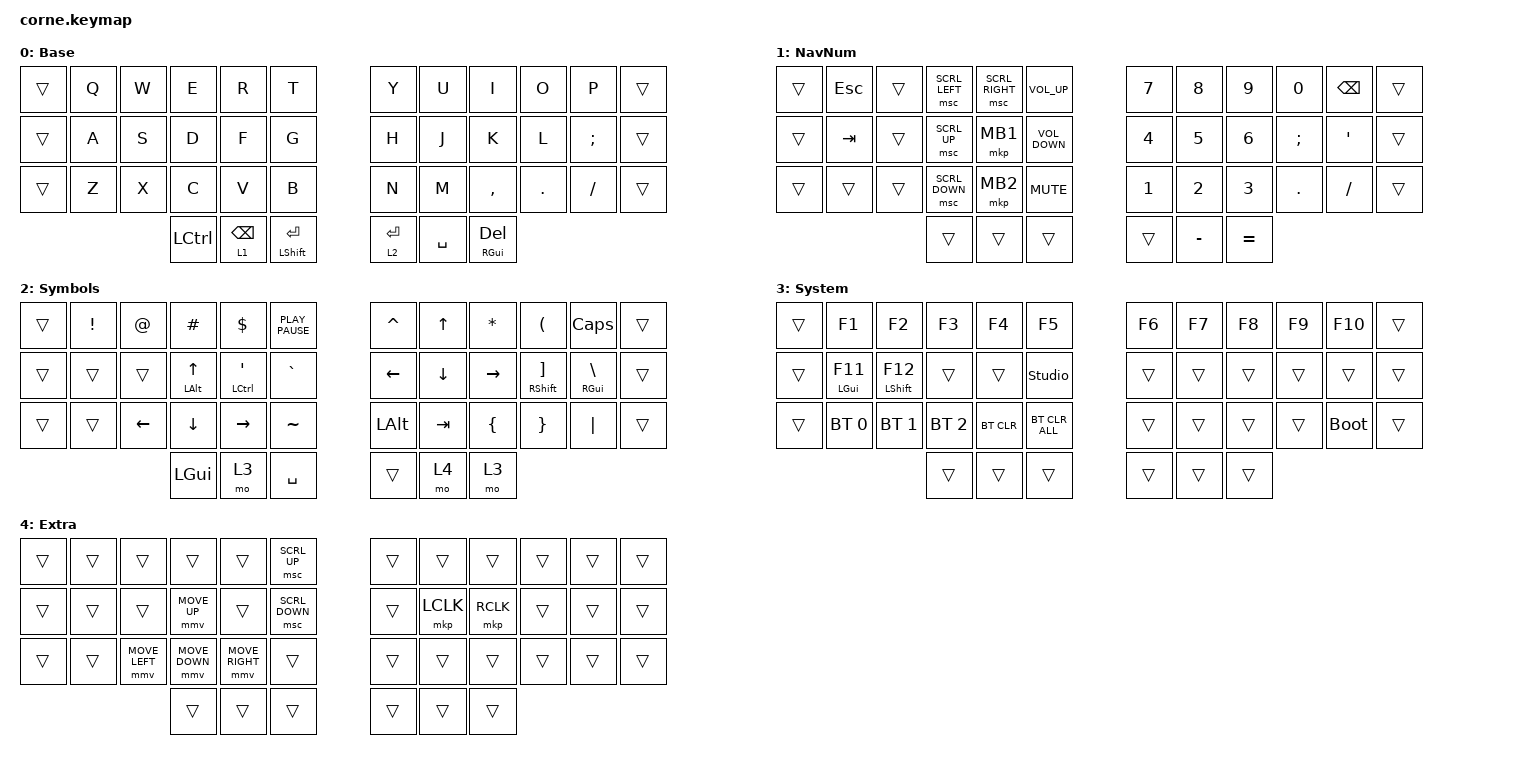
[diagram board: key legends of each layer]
#include <behaviors.dtsi>
#include <dt-bindings/zmk/bt.h>
#include <dt-bindings/zmk/keys.h>
#include <dt-bindings/zmk/pointing.h>

#define DEF 0
#define NAV 1
#define SYM 2
#define ADJ 3
#define EXTRA 4

/ {
    behaviors {
        hm: homerow_mods {
            compatible = "zmk,behavior-hold-tap";
            #binding-cells = <2>;
            tapping-term-ms = <200>;
            flavor = "tap-preferred";
            bindings = <&kp>, <&kp>;

            quick-tap-ms = <180>;
            require-prior-idle-ms = <120>; /* tune to taste */
        };

        para: para {
            compatible = "zmk,behavior-tap-dance";
            #binding-cells = <0>;
            bindings = <&kp LEFT_PARENTHESIS>, <&kp RIGHT_PARENTHESIS>;
        };

        caps: caps {
            compatible = "zmk,behavior-caps-word";
            #binding-cells = <0>;
            continue-list = <MINUS BACKSPACE>;
        };

        paraless: paraless {
            compatible = "zmk,behavior-mod-morph";
            bindings = <&kp LEFT_PARENTHESIS>, <&kp LESS_THAN>;

            #binding-cells = <0>;
            mods = <(MOD_LSFT)>;
        };

        paragreat: paragreat {
            compatible = "zmk,behavior-mod-morph";
            bindings = <&kp RIGHT_PARENTHESIS>, <&kp GREATER_THAN>;

            #binding-cells = <0>;
            mods = <(MOD_LSFT)>;
        };
    };

    macros {
        browsertab: browsertab {
            compatible = "zmk,behavior-macro";
            #binding-cells = <0>;
            bindings =
                <&macro_press>,
                <&kp LCTRL>,
                <&macro_tap>,
                <&kp TAB>,
                <&macro_release>,
                <&kp LCTRL>;
        };
    };

    combos {
        compatible = "zmk,combos";

        escape {
            bindings = <&kp ESCAPE>;
            key-positions = <13 29>;
        };

        delete {
            bindings = <&kp DELETE>;
            key-positions = <15 21>;
        };

        perc {
            bindings = <&kp PERCENT>;
            key-positions = <5 17>;
            layers = <0>;
        };

        equal {
            bindings = <&kp EQUAL>;
            key-positions = <28 16>;
            layers = <0>;
        };

        dollar {
            bindings = <&kp DOLLAR>;
            key-positions = <4 16>;
            layers = <0>;
        };

        pound {
            bindings = <&kp POUND>;
            key-positions = <3 15>;
            layers = <0>;
        };

        at {
            bindings = <&kp AT>;
            key-positions = <2 14>;
            layers = <0>;
        };

        backslash {
            bindings = <&kp BACKSLASH>;
            key-positions = <26 14>;
            layers = <0>;
        };

        star {
            bindings = <&kp STAR>;
            key-positions = <8 20>;
            layers = <0>;
        };

        slash {
            bindings = <&kp SLASH>;
            key-positions = <32 20>;
            layers = <0>;
        };

        plus {
            bindings = <&kp PLUS>;
            key-positions = <7 19>;
            layers = <0>;
        };

        minus {
            bindings = <&kp KP_MINUS>;
            key-positions = <31 19>;
            layers = <0>;
        };

        underscore {
            bindings = <&kp UNDER>;
            key-positions = <30 18>;
            layers = <0>;
        };

        leftbrack {
            bindings = <&kp LEFT_BRACKET>;
            key-positions = <31 32>;
            layers = <0>;
        };

        rightbrack {
            bindings = <&kp RIGHT_BRACKET>;
            key-positions = <33 32>;
            layers = <0>;
        };

        para-less {
            bindings = <&paraless>;
            key-positions = <20 19>;
            layers = <0>;
        };

        para-great {
            bindings = <&paragreat>;
            key-positions = <20 21>;
            layers = <0>;
        };
    };

    //

    keymap {
        compatible = "zmk,keymap";

        DEF {
            display-name = "Base";

            // -----------------------------------------------------------------------------------------
            // |  Q  |  W  |  E  |  R  |  T  |   |  Y  |  U   |  I  |  O  |  P  |
            // |  A  |  S  |  D  |  F  |  G  |   |  H  |  J   |  K  |  L  |  ;  |
            // |  Z  |  X  |  C  |  V  |  B  |   |  N  |  M   |  ,  |  .  |  /  |
            // | GUI | CTRL | SHFT | LWR | SPC |   | ENT | RSE  | BKSP | ALT | ESC |

            bindings = <
&trans  &kp Q  &kp W  &kp E      &kp R            &kp T                   &kp Y         &kp U      &kp I                 &kp O    &kp P     &trans
&trans  &kp A  &kp S  &kp D      &kp F            &kp G                   &kp H         &kp J      &kp K                 &kp L    &kp SEMI  &trans
&trans  &kp Z  &kp X  &kp C      &kp V            &kp B                   &kp N         &kp M      &kp COMMA             &kp DOT  &kp FSLH  &trans
                      &kp LCTRL  &lt 1 BACKSPACE  &mt LEFT_SHIFT ENTER    &lt 2 RETURN  &kp SPACE  &mt RIGHT_GUI DELETE
            >;
        };

        NAV {
            display-name = "NavNum";

            // -----------------------------------------------------------------------------------------
            // |  TAB |  1  |  2  |  3  |  4  |  5  |   |  6  |  7  |  8  |  9  |  0  | BKSP |
            // | BTCLR| BT1 | BT2 | BT3 | BT4 | BT5 |   | LFT | DWN |  UP | RGT |     |      |
            // | SHFT |     |     |     |     |     |   |     |     |     |     |     |      |
            // | GUI | CTRL | SHFT | LWR | SPC |   | ENT | RSE  | BKSP | ALT | ESC |

            bindings = <
&trans  &kp ESC  &trans  &msc SCRL_LEFT  &msc SCRL_RIGHT  &kp C_VOLUME_UP      &kp NUMBER_7  &kp NUMBER_8  &kp NUMBER_9  &kp NUMBER_0   &kp BACKSPACE  &trans
&trans  &kp TAB  &trans  &msc SCRL_UP    &mkp MB1         &kp C_VOLUME_DOWN    &kp NUMBER_4  &kp NUMBER_5  &kp NUMBER_6  &kp SEMICOLON  &kp APOS       &trans
&trans  &trans   &trans  &msc SCRL_DOWN  &mkp MB2         &kp K_MUTE           &kp NUMBER_1  &kp NUMBER_2  &kp NUMBER_3  &kp PERIOD     &kp FSLH       &trans
                         &trans          &trans           &trans               &trans        &kp MINUS     &kp EQUAL
            >;
        };

        SYM {
            display-name = "Symbols";

            // -----------------------------------------------------------------------------------------
            // |  TAB |  !  |  @  |  #  |  $  |  %  |   |  ^  |  &  |  *  |  (  |  )  | BKSP |
            // | CTRL |     |     |     |     |     |   |  -  |  =  |  [  |  ]  |  \  |  `   |
            // | SHFT |     |     |     |     |     |   |  _  |  +  |  {  |  }  | "|" |  ~   |
            //                    | GUI |     | SPC |   | ENT |     | ALT |

            bindings = <
&trans  &kp EXCL  &kp AT          &kp HASH           &kp DLLR         &kp K_PLAY_PAUSE    &kp CARET       &kp UP_ARROW    &kp ASTRK  &kp LEFT_PARENTHESIS  &kp CAPS       &trans
&trans  &trans    &trans          &hm LALT UP_ARROW  &hm LCTRL SQT    &kp GRAVE           &kp LEFT_ARROW  &kp DOWN_ARROW  &kp RIGHT  &hm RSHFT RBKT        &hm RGUI BSLH  &trans
&trans  &trans    &kp LEFT_ARROW  &kp DOWN_ARROW     &kp RIGHT_ARROW  &kp TILDE           &kp LEFT_ALT    &kp TAB         &kp LBRC   &kp RBRC              &kp PIPE       &trans
                                  &kp LGUI           &mo 3            &kp SPACE           &trans          &mo 4           &mo 3
            >;
        };

        ADJ {
            display-name = "System";
            bindings = <
&trans  &kp F1        &kp F2         &kp F3        &kp F4      &kp F5            &kp F6  &kp F7  &kp F8  &kp F9  &kp F10      &trans
&trans  &hm LGUI F11  &hm LSHFT F12  &trans        &trans      &studio_unlock    &trans  &trans  &trans  &trans  &trans       &trans
&trans  &bt BT_SEL 0  &bt BT_SEL 1   &bt BT_SEL 2  &bt BT_CLR  &bt BT_CLR_ALL    &trans  &trans  &trans  &trans  &bootloader  &trans
                                     &trans        &trans      &trans            &trans  &trans  &trans
            >;
        };

        EXTRA {
            display-name = "Extra";
            bindings = <
&trans  &trans  &trans          &trans          &trans           &msc SCRL_UP      &trans  &trans     &trans     &trans  &trans  &trans
&trans  &trans  &trans          &mmv MOVE_UP    &trans           &msc SCRL_DOWN    &trans  &mkp LCLK  &mkp RCLK  &trans  &trans  &trans
&trans  &trans  &mmv MOVE_LEFT  &mmv MOVE_DOWN  &mmv MOVE_RIGHT  &trans            &trans  &trans     &trans     &trans  &trans  &trans
                                &trans          &trans           &trans            &trans  &trans     &trans
            >;
        };
    };
};
